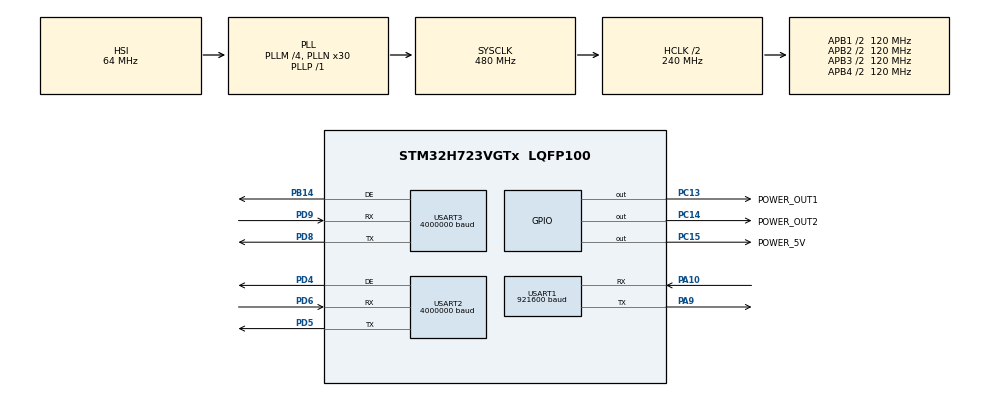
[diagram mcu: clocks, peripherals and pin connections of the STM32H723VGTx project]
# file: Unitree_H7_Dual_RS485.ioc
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Dma.Request0=USART2_RX
Dma.Request1=USART3_RX
Dma.USART2_RX.0.Direction=DMA_PERIPH_TO_MEMORY
Dma.USART2_RX.0.EventEnable=DISABLE
Dma.USART2_RX.0.FIFOMode=DMA_FIFOMODE_DISABLE
Dma.USART2_RX.0.Instance=DMA1_Stream0
Dma.USART2_RX.0.MemDataAlignment=DMA_MDATAALIGN_BYTE
Dma.USART2_RX.0.MemInc=DMA_MINC_ENABLE
Dma.USART2_RX.0.Mode=DMA_NORMAL
Dma.USART2_RX.0.PeriphDataAlignment=DMA_PDATAALIGN_BYTE
Dma.USART2_RX.0.PeriphInc=DMA_PINC_DISABLE
Dma.USART2_RX.0.Polarity=HAL_DMAMUX_REQ_GEN_RISING
Dma.USART2_RX.0.Priority=DMA_PRIORITY_HIGH
Dma.USART2_RX.0.RequestNumber=1
Dma.USART2_RX.0.SignalID=NONE
Dma.USART2_RX.0.SyncEnable=DISABLE
Dma.USART2_RX.0.SyncPolarity=HAL_DMAMUX_SYNC_NO_EVENT
Dma.USART2_RX.0.SyncRequestNumber=1
Dma.USART2_RX.0.SyncSignalID=NONE
Dma.USART3_RX.1.Direction=DMA_PERIPH_TO_MEMORY
Dma.USART3_RX.1.EventEnable=DISABLE
Dma.USART3_RX.1.FIFOMode=DMA_FIFOMODE_DISABLE
Dma.USART3_RX.1.Instance=DMA1_Stream1
Dma.USART3_RX.1.MemDataAlignment=DMA_MDATAALIGN_BYTE
Dma.USART3_RX.1.MemInc=DMA_MINC_ENABLE
Dma.USART3_RX.1.Mode=DMA_NORMAL
Dma.USART3_RX.1.PeriphDataAlignment=DMA_PDATAALIGN_BYTE
Dma.USART3_RX.1.PeriphInc=DMA_PINC_DISABLE
Dma.USART3_RX.1.Polarity=HAL_DMAMUX_REQ_GEN_RISING
Dma.USART3_RX.1.Priority=DMA_PRIORITY_HIGH
Dma.USART3_RX.1.RequestNumber=1
Dma.USART3_RX.1.SignalID=NONE
Dma.USART3_RX.1.SyncEnable=DISABLE
Dma.USART3_RX.1.SyncPolarity=HAL_DMAMUX_SYNC_NO_EVENT
Dma.USART3_RX.1.SyncRequestNumber=1
Dma.USART3_RX.1.SyncSignalID=NONE
Mcu.Family=STM32H7
Mcu.Name=STM32H723VGTx
Mcu.Package=LQFP100
NVIC.PriorityGroup=NVIC_PRIORITYGROUP_4
NVIC.USART1_IRQn=true\:0\:0\:false\:false\:true\:true\:true\:true
NVIC.USART2_IRQn=true\:1\:0\:true\:false\:true\:true\:true\:true
NVIC.USART3_IRQn=true\:2\:0\:true\:false\:true\:true\:true\:true
PA10.Mode=Asynchronous
PA10.Signal=USART1_RX
PA13(JTMS/SWDIO).Mode=Serial_Wire
PA13(JTMS/SWDIO).Signal=DEBUG_JTMS-SWDIO
PA14(JTCK/SWCLK).Mode=Serial_Wire
PA14(JTCK/SWCLK).Signal=DEBUG_JTCK-SWCLK
PA9.Mode=Asynchronous
PA9.Signal=USART1_TX
PB14.Mode=Hardware Flow Control (RS485)
PB14.Signal=USART3_DE
PC13.GPIO_Label=POWER_OUT1
PC13.PinState=GPIO_PIN_RESET
PC13.Signal=GPIO_Output
PC14-OSC32_IN.GPIO_Label=POWER_OUT2
PC14-OSC32_IN.PinState=GPIO_PIN_RESET
PC14-OSC32_IN.Signal=GPIO_Output
PC15-OSC32_OUT.GPIO_Label=POWER_5V
PC15-OSC32_OUT.PinState=GPIO_PIN_SET
PC15-OSC32_OUT.Signal=GPIO_Output
PD4.Mode=Hardware Flow Control (RS485)
PD4.Signal=USART2_DE
PD5.Mode=Asynchronous
PD5.Signal=USART2_TX
PD6.Mode=Asynchronous
PD6.Signal=USART2_RX
PD8.Mode=Asynchronous
PD8.Signal=USART3_TX
PD9.Mode=Asynchronous
PD9.Signal=USART3_RX
PH0-OSC_IN.Mode=HSE-External-Oscillator
PH0-OSC_IN.Signal=RCC_OSC_IN
PH1-OSC_OUT.Mode=HSE-External-Oscillator
PH1-OSC_OUT.Signal=RCC_OSC_OUT
ProjectManager.HeapSize=0x200
ProjectManager.StackSize=0x800
ProjectManager.TargetToolchain=MDK-ARM V5.27
RCC.ADCFreq_Value=129000000
RCC.APB1Freq_Value=120000000
RCC.APB2Freq_Value=120000000
RCC.APB3Freq_Value=120000000
RCC.APB4Freq_Value=120000000
RCC.CortexFreq_Value=480000000
RCC.D1PPRE=RCC_APB3_DIV2
RCC.D2PPRE1=RCC_APB1_DIV2
RCC.D2PPRE2=RCC_APB2_DIV2
RCC.D3PPRE=RCC_APB4_DIV2
RCC.DIVM1=4
RCC.DIVN1=30
RCC.DIVP1=1
RCC.HCLKFreq_Value=240000000
RCC.HPRE=RCC_HCLK_DIV2
RCC.HSE_VALUE=24000000
RCC.PLL2FRACN=0
RCC.PLL3FRACN=0
RCC.PLLFRACN=0
RCC.SYSCLKFreq_VALUE=480000000
RCC.SYSCLKSource=RCC_SYSCLKSOURCE_PLLCLK
RCC.USBFreq_Value=240000000
USART1.BaudRate=921600
USART1.VirtualMode-Asynchronous=VM_ASYNC
USART2.BaudRate=4000000
USART2.OverSampling=UART_OVERSAMPLING_8
USART2.VirtualMode-Asynchronous=VM_ASYNC
USART2.VirtualMode-Hardware\ Flow\ Control\ (RS485)=VM_ASYNC
USART3.BaudRate=4000000
USART3.OverSampling=UART_OVERSAMPLING_8
USART3.VirtualMode-Asynchronous=VM_ASYNC
USART3.VirtualMode-Hardware\ Flow\ Control\ (RS485)=VM_ASYNC
board=custom

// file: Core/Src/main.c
/* USER CODE BEGIN Header */
/**
  ******************************************************************************
  * @file           : main.c
  * @brief          : Main program body
  ******************************************************************************
  * @attention
  *
  * Copyright (c) 2026 STMicroelectronics.
  * All rights reserved.
  *
  * This software is licensed under terms that can be found in the LICENSE file
  * in the root directory of this software component.
  * If no LICENSE file comes with this software, it is provided AS-IS.
  *
  ******************************************************************************
  */
/* USER CODE END Header */
#include "main.h"
#include "dma.h"
#include "usart.h"
#include "gpio.h"

/* USER CODE BEGIN Includes */
#include "Unitree_M8010.h"
#include <math.h>
/* USER CODE END Includes */

/* USER CODE BEGIN PV */
static uint32_t demo_tick  = 0U;
static uint8_t  demo_phase = 0U;

/* 位置模式正弦参数：输出轴位置幅值 (rad) 与频率 (Hz) */
#define DEMO_POS_AMP   6.28f    /* 输出轴 ±1 圈（360°） */
#define DEMO_POS_FREQ  0.25f    /* 周期 4 s */
/* USER CODE END PV */

void SystemClock_Config(void);

int main(void)
{

  /* MCU Configuration--------------------------------------------------------*/

  /* Reset of all peripherals, Initializes the Flash interface and the Systick. */
  HAL_Init();

  /* Configure the system clock */
  SystemClock_Config();

  /* Initialize all configured peripherals */
  MX_GPIO_Init();
  MX_DMA_Init();
  MX_USART2_UART_Init();
  MX_USART3_UART_Init();
  MX_USART1_UART_Init();
  /* USER CODE BEGIN 2 */
  Unitree_M8010_Init();                                  /* 初始化电机 + 开启 DMA 接收 */
  HAL_Delay(3000);
  HAL_GPIO_WritePin(GPIOC, GPIO_PIN_13, GPIO_PIN_SET);  /* 打开电机电源 */
  HAL_GPIO_WritePin(GPIOC, GPIO_PIN_14, GPIO_PIN_SET);  /* 打开电机电源 */
  HAL_Delay(3000);   /* 等待电机上电初始化完成 */

  /* USER CODE END 2 */

  /* Infinite loop */
  while (1)
  {

    /* USER CODE BEGIN 3 */
    uint32_t now = HAL_GetTick();

    if ((now - demo_tick) >= 1U)        /* 1 kHz */
    {
      demo_tick = now;

      /* 位置模式，官方参数：dq = 0，kp = 0.01，kd = 0.01，tau = 0。
         输出轴位置 = 6.28 * sin(2*pi*0.25*t) rad（±1 圈）。
         注意：协议里的 q 是电机(转子)侧位置，所以要乘减速比 6.33。 */
      float t   = (float)now * 0.001f;
      float pos = DEMO_POS_AMP * MOTOR_GEAR_RATIO
                * sinf(6.28318f * DEMO_POS_FREQ * t);

      (void)Unitree_M8010_SendMit(0U, pos, 0.0f, 0.01f, 0.01f, 0.0f);

      /* 其余电机同理；同一路总线上两帧要错开时间（ID 0/1 在 USART2，2/3 在 USART3）
         (void)Unitree_M8010_SendMit(1U, pos, 0.0f, 0.01f, 0.01f, 0.0f);
         (void)Unitree_M8010_SendMit(2U, pos, 0.0f, 0.01f, 0.01f, 0.0f);
         (void)Unitree_M8010_SendMit(3U, pos, 0.0f, 0.01f, 0.01f, 0.0f); */
    }
  }
  /* USER CODE END 3 */
}

void SystemClock_Config(void)
{
  RCC_OscInitTypeDef RCC_OscInitStruct = {0};
  RCC_ClkInitTypeDef RCC_ClkInitStruct = {0};

  /** Supply configuration update enable
  */
  HAL_PWREx_ConfigSupply(PWR_LDO_SUPPLY);

  /** Configure the main internal regulator output voltage
  */
  __HAL_PWR_VOLTAGESCALING_CONFIG(PWR_REGULATOR_VOLTAGE_SCALE0);

  while(!__HAL_PWR_GET_FLAG(PWR_FLAG_VOSRDY)) {}

  /** Initializes the RCC Oscillators according to the specified parameters
  * in the RCC_OscInitTypeDef structure.
  */
  RCC_OscInitStruct.OscillatorType = RCC_OSCILLATORTYPE_HSI;
  RCC_OscInitStruct.HSIState = RCC_HSI_DIV1;
  RCC_OscInitStruct.HSICalibrationValue = 64;
  RCC_OscInitStruct.PLL.PLLState = RCC_PLL_ON;
  RCC_OscInitStruct.PLL.PLLSource = RCC_PLLSOURCE_HSI;
  RCC_OscInitStruct.PLL.PLLM = 4;
  RCC_OscInitStruct.PLL.PLLN = 30;
  RCC_OscInitStruct.PLL.PLLP = 1;
  RCC_OscInitStruct.PLL.PLLQ = 2;
  RCC_OscInitStruct.PLL.PLLR = 2;
  RCC_OscInitStruct.PLL.PLLRGE = RCC_PLL1VCIRANGE_3;
  RCC_OscInitStruct.PLL.PLLVCOSEL = RCC_PLL1VCOWIDE;
  RCC_OscInitStruct.PLL.PLLFRACN = 0;
  if (HAL_RCC_OscConfig(&RCC_OscInitStruct) != HAL_OK)
  {
    Error_Handler();
  }

  /** Initializes the CPU, AHB and APB buses clocks
  */
  RCC_ClkInitStruct.ClockType = RCC_CLOCKTYPE_HCLK|RCC_CLOCKTYPE_SYSCLK
                              |RCC_CLOCKTYPE_PCLK1|RCC_CLOCKTYPE_PCLK2
                              |RCC_CLOCKTYPE_D3PCLK1|RCC_CLOCKTYPE_D1PCLK1;
  RCC_ClkInitStruct.SYSCLKSource = RCC_SYSCLKSOURCE_PLLCLK;
  RCC_ClkInitStruct.SYSCLKDivider = RCC_SYSCLK_DIV1;
  RCC_ClkInitStruct.AHBCLKDivider = RCC_HCLK_DIV2;
  RCC_ClkInitStruct.APB3CLKDivider = RCC_APB3_DIV2;
  RCC_ClkInitStruct.APB1CLKDivider = RCC_APB1_DIV2;
  RCC_ClkInitStruct.APB2CLKDivider = RCC_APB2_DIV2;
  RCC_ClkInitStruct.APB4CLKDivider = RCC_APB4_DIV2;

  if (HAL_RCC_ClockConfig(&RCC_ClkInitStruct, FLASH_LATENCY_3) != HAL_OK)
  {
    Error_Handler();
  }
}

void Error_Handler(void)
{
  __disable_irq();
  while (1)
  {
  }
}
